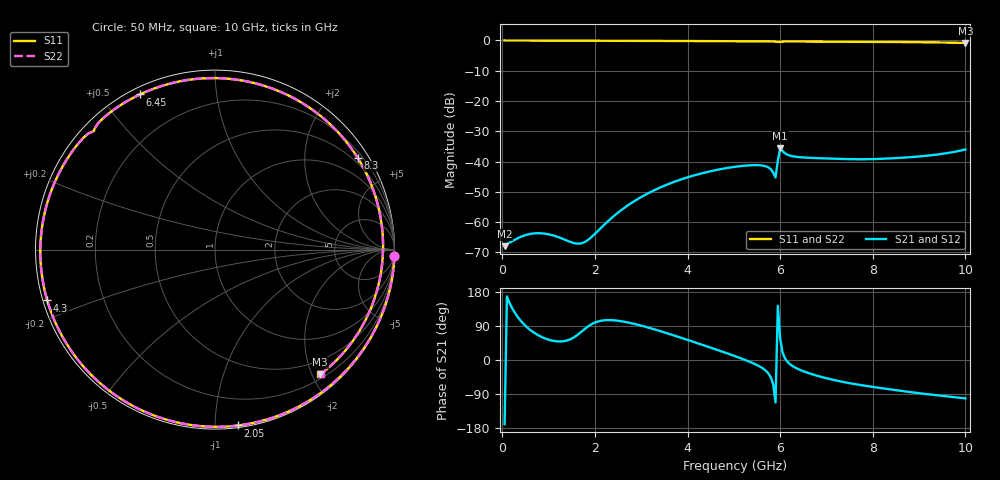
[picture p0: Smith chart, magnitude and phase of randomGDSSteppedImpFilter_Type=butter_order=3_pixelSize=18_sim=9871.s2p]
! freq	dB(S11)	phase(S11)	dB(S12)	phase(S12)
!  dB(S21)	phase(S21)	dB(S22)	phase(S22)
!S-par simulation data
#  GHz  S  DB  R 50
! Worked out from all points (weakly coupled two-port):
!   200 points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, 50 MHz to 10 GHz, reference 50 ohm
!   highest |S21| = -35.59 dB at 6 GHz (marker M1); lowest = -67.9 dB at 50 MHz (marker M2)
!   lowest |S11| = -0.8 dB at 10 GHz (marker M3), VSWR 21.20, Z = 13.1 - j106 ohm
!   |S11| at or under -10 dB: nowhere
!   |S22| runs from -0.8 to 0.0 dB; largest |S21 - S12| = 0
!   S11 on the Smith chart (normalised r, x): 50 MHz: 0, -54; 2.05 GHz: 0.01, -1.14; 4.3 GHz: 0.01, -0.15; 6.45 GHz: 0.03, +0.63; 8.3 GHz: 0.36, +3.39; 10 GHz: 0.26, -2.12
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0.05  -0.00 -2.1  -67.92 -169.4  -67.92 -169.4  -0.00 -2.1
0.75  -0.03 -31.3  -63.64 67.2  -63.64 67.2  -0.04 -31.2
1.25  -0.06 -51.5  -65.15 48.9  -65.15 48.9  -0.06 -51.5
1.75  -0.09 -71.1  -66.75 78.9  -66.75 78.9  -0.09 -71.0
2.05  -0.10 -82.5  -63.10 101.0  -63.10 101.0  -0.10 -82.5
2.7  -0.13 -106.5  -54.57 99.5  -54.57 99.5  -0.13 -106.5
3.4  -0.16 -131.5  -48.61 76.6  -48.61 76.6  -0.16 -131.5
4.3  -0.21 -163.1  -43.90 40.8  -43.90 40.8  -0.21 -163.0
5.05  -0.25 170.0  -41.66 9.1  -41.66 9.1  -0.25 170.1
5.7  -0.30 145.5  -41.60 -29.3  -41.60 -29.3  -0.30 145.7
5.9  -0.38 137.4  -45.25 -112.0  -45.25 -112.0  -0.38 137.6
6  -0.44 134.7  -35.59 56.7  -35.59 56.7  -0.44 134.9
6.15  -0.34 128.3  -37.67 -3.8  -37.67 -3.8  -0.34 128.5
6.45  -0.35 115.9  -38.57 -27.2  -38.57 -27.2  -0.35 116.1
6.7  -0.37 105.3  -38.79 -38.0  -38.79 -38.0  -0.37 105.5
7.5  -0.43 69.9  -39.19 -61.2  -39.19 -61.2  -0.43 70.1
8.3  -0.49 32.6  -39.00 -76.2  -39.00 -76.2  -0.49 32.9
8.35  -0.49 30.2  -38.96 -77.1  -38.96 -77.1  -0.49 30.5
8.75  -0.54 11.2  -38.60 -83.8  -38.60 -83.8  -0.54 11.5
9.15  -0.60 -8.0  -38.09 -89.8  -38.09 -89.8  -0.60 -7.6
9.55  -0.68 -27.3  -37.33 -95.3  -37.33 -95.3  -0.68 -27.0
10  -0.82 -49.9  -36.00 -101.2  -36.00 -101.2  -0.82 -49.5
